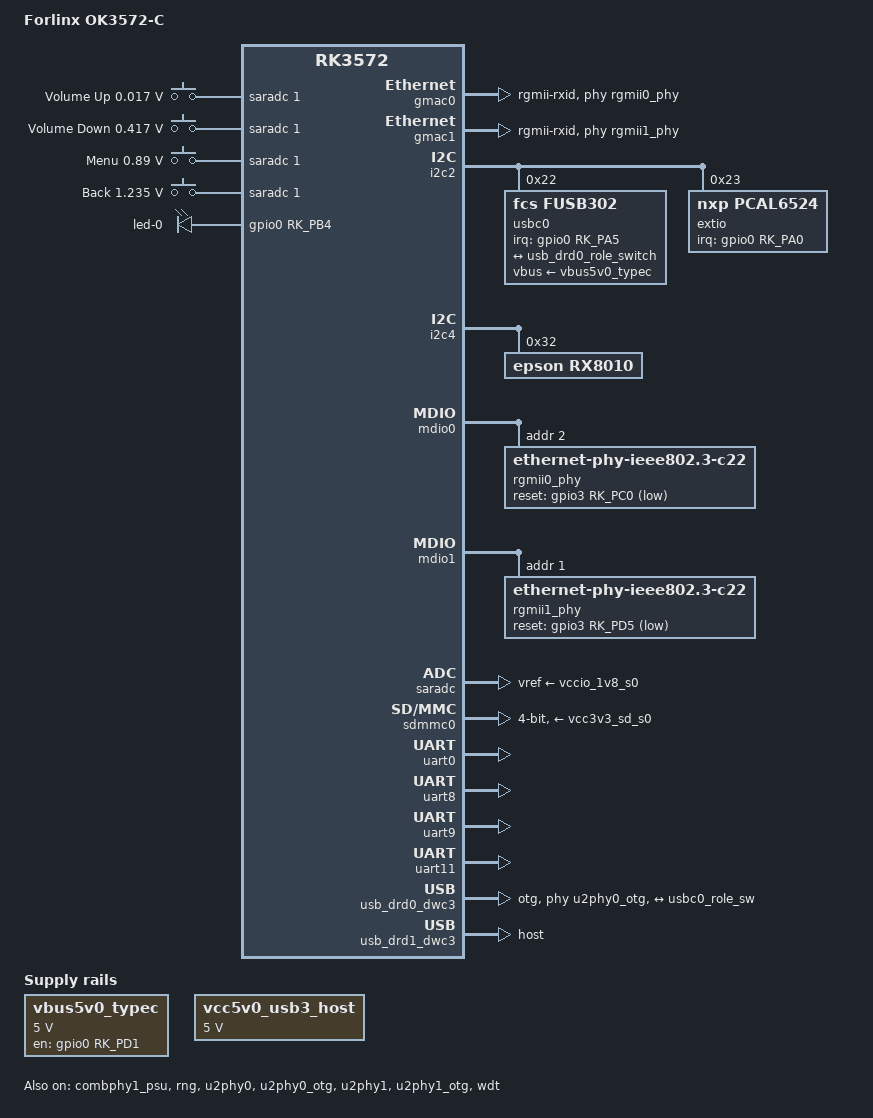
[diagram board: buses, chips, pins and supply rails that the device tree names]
// SPDX-License-Identifier: (GPL-2.0+ OR MIT)
/*
 * Copyright (c) 2025 Forlinx Embedded Tech. Co., Ltd
 */

/dts-v1/;

#include <dt-bindings/input/input.h>
#include <dt-bindings/leds/common.h>
#include <dt-bindings/usb/pd.h>
#include "rk3572-forlinx-fet3572-c.dtsi"

/ {
	model = "Forlinx OK3572-C";
	compatible = "forlinx,ok3572-c", "forlinx,fet3572-c", "rockchip,rk3572";

	aliases {
		ethernet0 = &gmac0;
		ethernet1 = &gmac1;
		mmc0 = &sdhci;
		mmc1 = &sdmmc0;
		rtc0 = &rx8010;
	};

	chosen {
		stdout-path = "serial0:1500000n8";
	};

	adc-keys {
		compatible = "adc-keys";
		io-channels = <&saradc 1>;
		io-channel-names = "buttons";
		keyup-threshold-microvolt = <1800000>;
		poll-interval = <100>;

		button-volume-up {
			label = "Volume Up";
			linux,code = <KEY_VOLUMEUP>;
			press-threshold-microvolt = <17000>;
		};

		button-volume-down {
			label = "Volume Down";
			linux,code = <KEY_VOLUMEDOWN>;
			press-threshold-microvolt = <417000>;
		};

		button-menu {
			label = "Menu";
			linux,code = <KEY_MENU>;
			press-threshold-microvolt = <890000>;
		};

		button-back {
			label = "Back";
			linux,code = <KEY_BACK>;
			press-threshold-microvolt = <1235000>;
		};
	};

	leds {
		compatible = "gpio-leds";
		pinctrl-names = "default";
		pinctrl-0 = <&work_led_gpio>;

		led-0 {
			function = LED_FUNCTION_STATUS;
			gpios = <&gpio0 RK_PB4 GPIO_ACTIVE_HIGH>;
			linux,default-trigger = "heartbeat";
		};
	};

	vbus5v0_typec: regulator-vbus5v0-typec {
		compatible = "regulator-fixed";
		regulator-name = "vbus5v0_typec";
		regulator-min-microvolt = <5000000>;
		regulator-max-microvolt = <5000000>;
		gpio = <&gpio0 RK_PD1 GPIO_ACTIVE_HIGH>;
		enable-active-high;
		pinctrl-names = "default";
		pinctrl-0 = <&usb_drd0_pwren>;
	};

	vcc5v0_usb3_host: regulator-vcc5v0-usb3-host {
		compatible = "regulator-fixed";
		regulator-name = "vcc5v0_usb3_host";
		regulator-always-on;
		regulator-boot-on;
		regulator-min-microvolt = <5000000>;
		regulator-max-microvolt = <5000000>;
	};
};

&combphy1_psu {
	status = "okay";
};

&gmac0 {
	phy-mode = "rgmii-rxid";
	clock_in_out = "output";
	pinctrl-names = "default";
	pinctrl-0 = <&eth0_miim_pins &eth0_tx_bus2_pins &eth0_rx_bus2_pins
		     &eth0_rgmii_clk_pins &eth0_rgmii_bus_pins>;
	phy-handle = <&rgmii0_phy>;
	tx_delay = <0x21>;
	status = "okay";
};

&gmac1 {
	phy-mode = "rgmii-rxid";
	clock_in_out = "output";
	pinctrl-names = "default";
	pinctrl-0 = <&eth1m0_miim_pins &eth1m0_tx_bus2_pins &eth1m0_rx_bus2_pins
		     &eth1m0_rgmii_clk_pins &eth1m0_rgmii_bus_pins>;
	phy-handle = <&rgmii1_phy>;
	tx_delay = <0x20>;
	status = "okay";
};

&i2c2 {
	status = "okay";

	usbc0: usb-typec@22 {
		compatible = "fcs,fusb302";
		reg = <0x22>;
		interrupt-parent = <&gpio0>;
		interrupts = <RK_PA5 IRQ_TYPE_LEVEL_LOW>;
		pinctrl-names = "default";
		pinctrl-0 = <&usbc0_int>;
		vbus-supply = <&vbus5v0_typec>;

		connector {
			compatible = "usb-c-connector";
			label = "USB-C";
			data-role = "dual";
			power-role = "dual";
			try-power-role = "sink";
			op-sink-microwatt = <1000000>;
			sink-pdos = <PDO_FIXED(5000, 1000, PDO_FIXED_USB_COMM)>;
			source-pdos = <PDO_FIXED(5000, 3000, PDO_FIXED_USB_COMM)>;

			port {
				usbc0_role_sw: endpoint {
					remote-endpoint = <&usb_drd0_role_switch>;
				};
			};
		};
	};

	extio: gpio@23 {
		compatible = "nxp,pcal6524";
		reg = <0x23>;
		interrupt-parent = <&gpio0>;
		interrupts = <RK_PA0 IRQ_TYPE_EDGE_FALLING>;
		pinctrl-names = "default";
		pinctrl-0 = <&extio_int_gpio>;
		gpio-controller;
		#gpio-cells = <2>;
		interrupt-controller;
		#interrupt-cells = <2>;
		#address-cells = <0>;
	};
};

&i2c4 {
	pinctrl-names = "default";
	pinctrl-0 = <&i2c4m1_xfer_pins>;
	status = "okay";

	rx8010: rtc@32 {
		compatible = "epson,rx8010";
		reg = <0x32>;
	};
};

&mdio0 {
	rgmii0_phy: ethernet-phy@2 {
		compatible = "ethernet-phy-ieee802.3-c22";
		reg = <2>;
		reset-gpios = <&gpio3 RK_PC0 GPIO_ACTIVE_LOW>;
		reset-assert-us = <20000>;
		reset-deassert-us = <100000>;
	};
};

&mdio1 {
	rgmii1_phy: ethernet-phy@1 {
		compatible = "ethernet-phy-ieee802.3-c22";
		reg = <1>;
		reset-gpios = <&gpio3 RK_PD5 GPIO_ACTIVE_LOW>;
		reset-assert-us = <20000>;
		reset-deassert-us = <100000>;
	};
};

&pinctrl {
	extio {
		extio_int_gpio: extio-int-gpio {
			rockchip,pins = <0 RK_PA0 RK_FUNC_GPIO &pcfg_pull_up>;
		};
	};

	leds {
		work_led_gpio: work-led-gpio {
			rockchip,pins = <0 RK_PB4 RK_FUNC_GPIO &pcfg_pull_none>;
		};
	};

	usb {
		usb_drd0_pwren: usb-drd0-pwren {
			rockchip,pins = <0 RK_PD1 RK_FUNC_GPIO &pcfg_pull_none>;
		};

		usbc0_int: usbc0-int {
			rockchip,pins = <0 RK_PA5 RK_FUNC_GPIO &pcfg_pull_up>;
		};
	};
};

&rng {
	status = "okay";
};

&saradc {
	vref-supply = <&vccio_1v8_s0>;
	status = "okay";
};

&sdmmc0 {
	bus-width = <4>;
	cap-sd-highspeed;
	disable-wp;
	max-frequency = <200000000>;
	no-mmc;
	no-sdio;
	pinctrl-0 = <&sdmmc0m0_bus4_pins &sdmmc0m0_clk_pins &sdmmc0m0_cmd_pins
		     &sdmmc0m0_det_pins &sdmmc0_pwren_pins>;
	sd-uhs-sdr104;
	vmmc-supply = <&vcc3v3_sd_s0>;
	vqmmc-supply = <&vccio_sd_s0>;
	status = "okay";
};

&u2phy0 {
	status = "okay";
};

&u2phy0_otg {
	status = "okay";
};

&u2phy1 {
	status = "okay";
};

&u2phy1_otg {
	phy-supply = <&vcc5v0_usb3_host>;
	status = "okay";
};

&uart0 {
	status = "okay";
};

&uart8 {
	pinctrl-names = "default";
	pinctrl-0 = <&uart8m0_xfer_pins>;
	status = "okay";
};

&uart9 {
	status = "okay";
};

&uart11 {
	pinctrl-names = "default";
	pinctrl-0 = <&uart11m1_xfer_pins>;
	status = "okay";
};

&usb_drd0_dwc3 {
	dr_mode = "otg";
	maximum-speed = "high-speed";
	phys = <&u2phy0_otg>;
	phy-names = "usb2-phy";
	snps,dis_u2_susphy_quirk;
	snps,usb2-lpm-disable;
	usb-role-switch;
	status = "okay";

	port {
		usb_drd0_role_switch: endpoint {
			remote-endpoint = <&usbc0_role_sw>;
		};
	};
};

&usb_drd1_dwc3 {
	dr_mode = "host";
	status = "okay";
};

&wdt {
	status = "okay";
};
